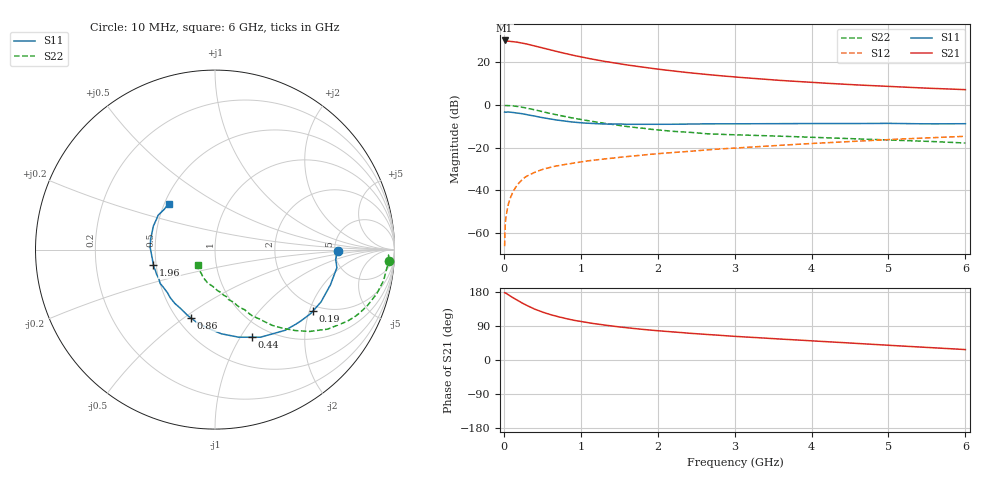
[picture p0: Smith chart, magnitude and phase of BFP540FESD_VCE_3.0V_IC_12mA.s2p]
! Infineon Technologies  Discrete & RF Semiconductors
! BFP540FESD
! VCE =  3.0 V,  IC =  12 mA
! Common Emitter S-Parameters:  Nov 2015
# GHz  S  MA  R  50
!  f  S11  S21  S12  S22
! GHz  MAG  ANG  MAG  ANG  MAG  ANG  MAG  ANG
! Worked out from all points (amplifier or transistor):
!   210 points, 10 MHz to 6 GHz, reference 50 ohm
!   highest |S21| = 30.1 dB at 10 MHz (marker M1)
!   |S21| within 3 dB of that: start of sweep to 448.7 MHz
!   unconditionally stable (mu >= 1): start of sweep to 10.8 MHz; 2.101 GHz to end of sweep
!   at 185 MHz: K = 0.20, MSG = 33.1 dB, |S12| = -37.0 dB
!   at 1.52 GHz: K = 0.87, MSG = 21.8 dB, |S12| = -24.4 dB
!   at 6 GHz: K = 1.21, MAG = 8.2 dB, |S12| = -14.7 dB
!   S11 on the Smith chart (normalised r, x): 10 MHz: 5.30, -0.17; 190 MHz: 1.81, -2.12; 440 MHz: 0.83, -1.12; 860 MHz: 0.58, -0.53; 1.96 GHz: 0.48, -0.09; 6 GHz: 0.53, +0.31
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0.01  0.6826 -0.7  32.08 177.7  0.0005 73.1  0.9693 -3.6
0.02  0.6747 -4.7  30.97 177.0  0.0018 87.9  0.9672 -1.8
0.05  0.6864 -8.4  31.01 173.2  0.0041 86.5  0.9661 -5.0
0.1  0.6726 -16.9  30.42 166.7  0.0078 79.6  0.955 -10.4
0.15  0.6587 -26.3  29.84 160.6  0.0116 79.2  0.9342 -15.3
0.19  0.6444 -32.1  28.91 155.7  0.0145 75.3  0.911 -19.0
0.3  0.5953 -49.1  26.43 143.6  0.0217 70.0  0.8398 -28.3
0.4  0.5499 -62.6  23.89 134.3  0.0265 65.6  0.7684 -35.2
0.44  0.5294 -67.2  22.91 131.4  0.0283 64.2  0.7388 -37.3
0.5  0.5057 -74.8  21.57 126.5  0.031 62.4  0.6965 -40.9
0.6  0.4704 -85.7  19.32 119.9  0.0348 60.4  0.6341 -45.3
0.7  0.4407 -94.8  17.5 114.5  0.038 58.1  0.5824 -49.0
0.86  0.4038 -109.4  15 107.0  0.0423 56.6  0.5076 -54.2
1.02  0.3793 -120.8  13.03 100.9  0.0471 55.8  0.4507 -58.1
1.2  0.3658 -133.2  11.28 95.1  0.0517 54.9  0.398 -62.3
1.42  0.3562 -144.4  9.666 89.3  0.0572 54.7  0.3476 -67.1
1.96  0.3535 -166.2  7.009 78.0  0.0714 53.4  0.2646 -77.8
2.02  0.3531 -168.4  6.795 76.9  0.0728 53.2  0.259 -79.2
3.1  0.3628 169.3  4.356 61.3  0.1005 50.3  0.1979 -97.6
4.1  0.3671 158.1  3.28 49.4  0.1281 46.3  0.1732 -110.1
5.1  0.3681 147.5  2.658 37.7  0.1578 39.9  0.1501 -122.1
6  0.3636 135.3  2.275 27.5  0.1846 33.6  0.1285 -138.5
